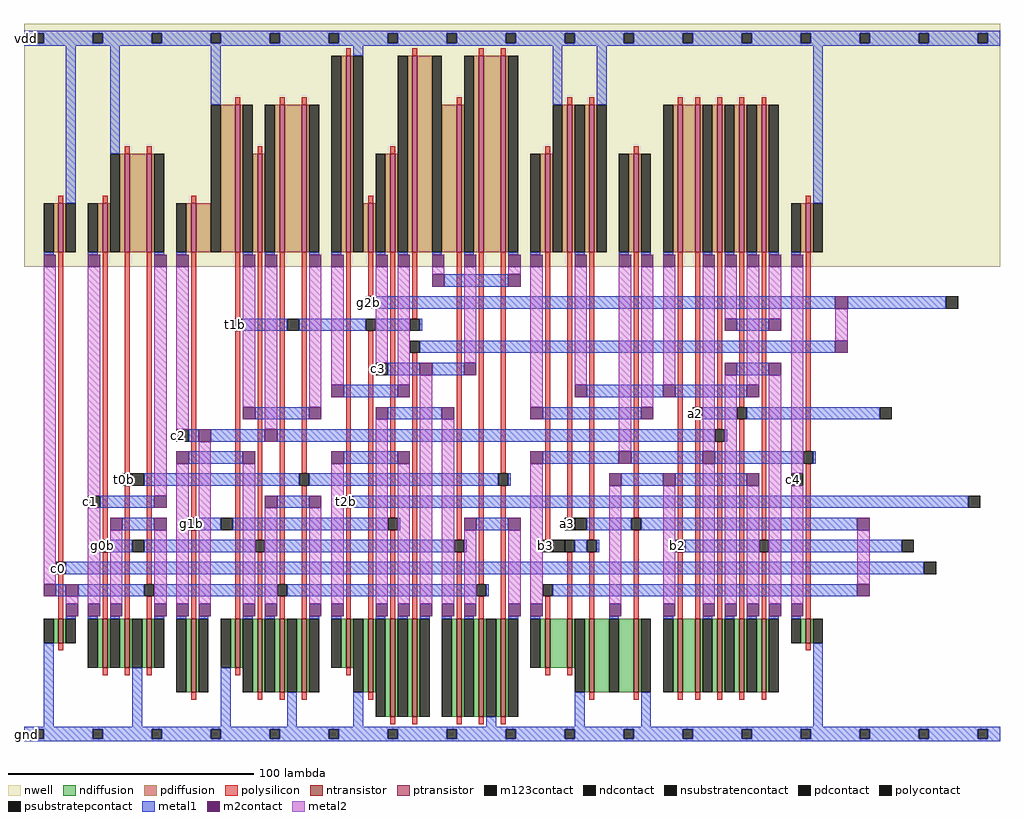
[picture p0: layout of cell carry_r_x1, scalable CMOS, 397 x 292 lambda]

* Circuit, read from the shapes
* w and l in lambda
.subckt carry_r_x1 a2 a3 b2 b3 c0 c1 c2 c3 c4 g0b g1b g2b t0b t1b t2b vdd gnd
M1 n1 c0 gnd gnd nfet w=10 l=2
M2 n2 g0b c1 gnd nfet w=20 l=2
M3 gnd t0b n2 gnd nfet w=20 l=2
M4 n2 n1 gnd gnd nfet w=20 l=2
M5 c2 g1b n3 gnd nfet w=30 l=2
M6 n3 t1b gnd gnd nfet w=20 l=2
M7 n4 g0b n3 gnd nfet w=30 l=2
M8 gnd n1 n4 gnd nfet w=30 l=2
M9 n4 t0b gnd gnd nfet w=30 l=2
M10 gnd t2b n5 gnd nfet w=20 l=2
M11 n6 t1b gnd gnd nfet w=30 l=2
M12 n5 g1b n6 gnd nfet w=40 l=2
M13 c3 g2b n5 gnd nfet w=40 l=2
M14 n7 g0b n6 gnd nfet w=40 l=2
M15 gnd n1 n7 gnd nfet w=40 l=2
M16 n7 t0b gnd gnd nfet w=40 l=2
M17 n8 a3 n9 gnd nfet w=20 l=2
M18 gnd b3 n8 gnd nfet w=20 l=2
M19 n10 b3 gnd gnd nfet w=30 l=2
M20 gnd a3 n10 gnd nfet w=30 l=2
M21 n11 b2 n10 gnd nfet w=30 l=2
M22 n9 a2 n11 gnd nfet w=30 l=2
M23 n12 c2 n9 gnd nfet w=30 l=2
M24 n10 a2 n12 gnd nfet w=30 l=2
M25 n12 b2 n10 gnd nfet w=30 l=2
M26 gnd n9 c4 gnd nfet w=10 l=2
M27 vdd c0 n1 vdd pfet w=20 l=2
M28 vdd g0b c1 vdd pfet w=20 l=2
M29 n13 t0b vdd vdd pfet w=40 l=2
M30 c1 n1 n13 vdd pfet w=40 l=2
M31 vdd g1b c2 vdd pfet w=20 l=2
M32 n14 t1b vdd vdd pfet w=60 l=2
M33 c2 g0b n14 vdd pfet w=40 l=2
M34 n15 n1 c2 vdd pfet w=60 l=2
M35 n14 t0b n15 vdd pfet w=60 l=2
M36 vdd t2b n16 vdd pfet w=80 l=2
M37 c3 g2b vdd vdd pfet w=20 l=2
M38 n16 g1b c3 vdd pfet w=40 l=2
M39 n17 t1b n16 vdd pfet w=80 l=2
M40 c3 g0b n17 vdd pfet w=60 l=2
M41 n18 n1 c3 vdd pfet w=80 l=2
M42 n17 t0b n18 vdd pfet w=80 l=2
M43 vdd b3 n19 vdd pfet w=40 l=2
M44 n20 a3 vdd vdd pfet w=60 l=2
M45 vdd b3 n20 vdd pfet w=60 l=2
M46 n19 a3 n9 vdd pfet w=40 l=2
M47 n21 b2 n20 vdd pfet w=60 l=2
M48 n9 a2 n21 vdd pfet w=60 l=2
M49 n22 c2 n9 vdd pfet w=60 l=2
M50 n20 a2 n22 vdd pfet w=60 l=2
M51 n22 b2 n20 vdd pfet w=60 l=2
M52 vdd n9 c4 vdd pfet w=20 l=2
.ends

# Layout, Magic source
magic
tech scmos
<< nwell >>
rect 0 193 397 292
<< ntransistor >>
rect 14 40 16 50
rect 32 30 34 50
rect 41 30 43 50
rect 50 30 52 50
rect 68 20 70 50
rect 86 30 88 50
rect 95 20 97 50
rect 104 20 106 50
rect 113 20 115 50
rect 131 30 133 50
rect 140 20 142 50
rect 149 10 151 50
rect 158 10 160 50
rect 176 10 178 50
rect 185 10 187 50
rect 194 10 196 50
rect 212 30 214 50
rect 221 30 223 50
rect 230 20 232 50
rect 248 20 250 50
rect 266 20 268 50
rect 273 20 275 50
rect 282 20 284 50
rect 291 20 293 50
rect 300 20 302 50
rect 318 40 320 50
<< ptransistor >>
rect 14 199 16 219
rect 32 199 34 219
rect 41 199 43 239
rect 50 199 52 239
rect 68 199 70 219
rect 86 199 88 259
rect 95 199 97 239
rect 104 199 106 259
rect 113 199 115 259
rect 131 199 133 279
rect 140 199 142 219
rect 149 199 151 239
rect 158 199 160 279
rect 176 199 178 259
rect 185 199 187 279
rect 194 199 196 279
rect 212 199 214 239
rect 221 199 223 259
rect 230 199 232 259
rect 248 199 250 239
rect 266 199 268 259
rect 273 199 275 259
rect 282 199 284 259
rect 291 199 293 259
rect 300 199 302 259
rect 318 199 320 219
<< ndiffusion >>
rect 12 40 14 50
rect 16 40 17 50
rect 30 30 32 50
rect 34 30 35 50
rect 39 30 41 50
rect 43 30 44 50
rect 48 30 50 50
rect 52 30 53 50
rect 66 20 68 50
rect 70 20 71 50
rect 84 30 86 50
rect 88 30 89 50
rect 93 20 95 50
rect 97 20 98 50
rect 102 20 104 50
rect 106 20 107 50
rect 111 20 113 50
rect 115 20 116 50
rect 129 30 131 50
rect 133 30 134 50
rect 138 20 140 50
rect 142 20 143 50
rect 147 10 149 50
rect 151 10 152 50
rect 156 10 158 50
rect 160 10 161 50
rect 174 10 176 50
rect 178 10 179 50
rect 183 10 185 50
rect 187 10 188 50
rect 192 10 194 50
rect 196 10 197 50
rect 210 30 212 50
rect 214 30 221 50
rect 223 30 224 50
rect 228 20 230 50
rect 232 20 238 50
rect 242 20 248 50
rect 250 20 251 50
rect 264 20 266 50
rect 268 20 273 50
rect 275 20 276 50
rect 280 20 282 50
rect 284 20 285 50
rect 289 20 291 50
rect 293 20 294 50
rect 298 20 300 50
rect 302 20 303 50
rect 316 40 318 50
rect 320 40 321 50
<< pdiffusion >>
rect 12 199 14 219
rect 16 199 17 219
rect 30 199 32 219
rect 34 199 35 219
rect 39 199 41 239
rect 43 199 50 239
rect 52 199 53 239
rect 66 199 68 219
rect 70 199 76 219
rect 80 199 86 259
rect 88 199 89 259
rect 93 199 95 239
rect 97 199 98 239
rect 102 199 104 259
rect 106 199 113 259
rect 115 199 116 259
rect 129 199 131 279
rect 133 199 134 279
rect 138 199 140 219
rect 142 199 143 219
rect 147 199 149 239
rect 151 199 152 239
rect 156 199 158 279
rect 160 199 166 279
rect 170 199 176 259
rect 178 199 179 259
rect 183 199 185 279
rect 187 199 194 279
rect 196 199 197 279
rect 210 199 212 239
rect 214 199 215 239
rect 219 199 221 259
rect 223 199 224 259
rect 228 199 230 259
rect 232 199 233 259
rect 246 199 248 239
rect 250 199 251 239
rect 264 199 266 259
rect 268 199 273 259
rect 275 199 276 259
rect 280 199 282 259
rect 284 199 285 259
rect 289 199 291 259
rect 293 199 294 259
rect 298 199 300 259
rect 302 199 303 259
rect 316 199 318 219
rect 320 199 321 219
<< ndcontact >>
rect 8 40 12 50
rect 17 40 21 50
rect 26 30 30 50
rect 35 30 39 50
rect 44 30 48 50
rect 53 30 57 50
rect 62 20 66 50
rect 71 20 75 50
rect 80 30 84 50
rect 89 20 93 50
rect 98 20 102 50
rect 107 20 111 50
rect 116 20 120 50
rect 125 30 129 50
rect 134 20 138 50
rect 143 10 147 50
rect 152 10 156 50
rect 161 10 165 50
rect 170 10 174 50
rect 179 10 183 50
rect 188 10 192 50
rect 197 10 201 50
rect 206 30 210 50
rect 224 20 228 50
rect 238 20 242 50
rect 251 20 255 50
rect 260 20 264 50
rect 276 20 280 50
rect 285 20 289 50
rect 294 20 298 50
rect 303 20 307 50
rect 312 40 316 50
rect 321 40 325 50
<< pdcontact >>
rect 8 199 12 219
rect 17 199 21 219
rect 26 199 30 219
rect 35 199 39 239
rect 53 199 57 239
rect 62 199 66 219
rect 76 199 80 259
rect 89 199 93 259
rect 98 199 102 259
rect 116 199 120 259
rect 125 199 129 279
rect 134 199 138 279
rect 143 199 147 239
rect 152 199 156 279
rect 166 199 170 279
rect 179 199 183 279
rect 197 199 201 279
rect 206 199 210 239
rect 215 199 219 259
rect 224 199 228 259
rect 233 199 237 259
rect 242 199 246 239
rect 251 199 255 239
rect 260 199 264 259
rect 276 199 280 259
rect 285 199 289 259
rect 294 199 298 259
rect 303 199 307 259
rect 312 199 316 219
rect 321 199 325 219
<< psubstratepcontact >>
rect 4 1 8 5
rect 28 1 32 5
rect 52 1 56 5
rect 76 1 80 5
rect 100 1 104 5
rect 124 1 128 5
rect 148 1 152 5
rect 172 1 176 5
rect 196 1 200 5
rect 220 1 224 5
rect 244 1 248 5
rect 268 1 272 5
rect 292 1 296 5
rect 316 1 320 5
rect 340 1 344 5
rect 364 1 368 5
rect 388 1 392 5
<< nsubstratencontact >>
rect 4 284 8 288
rect 28 284 32 288
rect 52 284 56 288
rect 76 284 80 288
rect 100 284 104 288
rect 124 284 128 288
rect 148 284 152 288
rect 172 284 176 288
rect 196 284 200 288
rect 220 284 224 288
rect 244 284 248 288
rect 268 284 272 288
rect 292 284 296 288
rect 316 284 320 288
rect 340 284 344 288
rect 364 284 368 288
rect 388 284 392 288
<< polysilicon >>
rect 131 279 133 282
rect 158 279 160 282
rect 185 279 187 282
rect 194 279 196 282
rect 86 259 88 262
rect 104 259 106 262
rect 113 259 115 262
rect 41 239 43 242
rect 50 239 52 242
rect 14 219 16 222
rect 32 219 34 222
rect 68 219 70 222
rect 95 239 97 242
rect 149 239 151 242
rect 140 219 142 222
rect 176 259 178 262
rect 221 259 223 262
rect 230 259 232 262
rect 266 259 268 262
rect 273 259 275 262
rect 282 259 284 262
rect 291 259 293 262
rect 300 259 302 262
rect 212 239 214 242
rect 248 239 250 242
rect 318 219 320 222
rect 14 73 16 199
rect 32 82 34 199
rect 41 109 43 199
rect 14 50 16 68
rect 32 50 34 77
rect 41 50 43 104
rect 50 64 52 199
rect 68 91 70 199
rect 86 172 88 199
rect 50 50 52 59
rect 68 50 70 86
rect 86 50 88 167
rect 95 82 97 199
rect 95 50 97 77
rect 104 64 106 199
rect 113 109 115 199
rect 104 50 106 59
rect 113 50 115 104
rect 131 100 133 199
rect 140 181 142 199
rect 131 50 133 95
rect 140 50 142 167
rect 149 91 151 199
rect 158 172 160 199
rect 149 50 151 86
rect 158 50 160 158
rect 176 82 178 199
rect 176 50 178 77
rect 185 64 187 199
rect 194 109 196 199
rect 185 50 187 59
rect 194 50 196 104
rect 212 82 214 199
rect 221 91 223 199
rect 230 82 232 199
rect 248 91 250 199
rect 212 50 214 59
rect 221 50 223 77
rect 230 50 232 77
rect 248 50 250 86
rect 266 82 268 199
rect 273 136 275 199
rect 266 50 268 77
rect 273 50 275 131
rect 282 127 284 199
rect 291 136 293 199
rect 282 50 284 122
rect 291 50 293 131
rect 300 82 302 199
rect 318 118 320 199
rect 300 50 302 77
rect 318 50 320 113
rect 14 37 16 40
rect 32 27 34 30
rect 41 27 43 30
rect 50 27 52 30
rect 86 27 88 30
rect 131 27 133 30
rect 68 17 70 20
rect 95 17 97 20
rect 104 17 106 20
rect 113 17 115 20
rect 140 17 142 20
rect 212 27 214 30
rect 221 27 223 30
rect 318 37 320 40
rect 230 17 232 20
rect 248 17 250 20
rect 266 17 268 20
rect 273 17 275 20
rect 282 17 284 20
rect 291 17 293 20
rect 300 17 302 20
rect 149 7 151 10
rect 158 7 160 10
rect 176 7 178 10
rect 185 7 187 10
rect 194 7 196 10
<< polycontact >>
rect 40 104 44 109
rect 31 77 35 82
rect 13 68 17 73
rect 85 167 89 172
rect 67 86 71 91
rect 49 59 53 64
rect 94 77 98 82
rect 112 104 116 109
rect 103 59 107 64
rect 139 176 143 181
rect 139 167 143 172
rect 130 95 134 100
rect 157 167 161 172
rect 157 158 161 163
rect 148 86 152 91
rect 175 77 179 82
rect 193 104 197 109
rect 184 59 188 64
rect 220 86 224 91
rect 247 86 251 91
rect 211 77 215 82
rect 220 77 224 82
rect 229 77 233 82
rect 211 59 215 64
rect 272 131 276 136
rect 265 77 269 82
rect 290 131 294 136
rect 281 122 285 127
rect 317 113 321 118
rect 299 77 303 82
<< metal1 >>
rect 0 288 397 289
rect 0 284 4 288
rect 8 284 28 288
rect 32 284 52 288
rect 56 284 76 288
rect 80 284 100 288
rect 104 284 124 288
rect 128 284 148 288
rect 152 284 172 288
rect 176 284 196 288
rect 200 284 220 288
rect 224 284 244 288
rect 248 284 268 288
rect 272 284 292 288
rect 296 284 316 288
rect 320 284 340 288
rect 344 284 364 288
rect 368 284 388 288
rect 392 284 397 288
rect 0 283 397 284
rect 17 219 21 283
rect 35 239 39 283
rect 76 259 80 283
rect 134 279 138 283
rect 8 198 12 199
rect 26 198 30 199
rect 53 198 57 199
rect 62 198 66 199
rect 89 198 93 199
rect 98 198 102 199
rect 116 198 120 199
rect 125 198 129 199
rect 143 198 147 199
rect 152 198 156 199
rect 166 198 170 199
rect 179 198 183 199
rect 215 259 219 283
rect 233 259 237 283
rect 197 198 201 199
rect 206 198 210 199
rect 224 198 228 199
rect 242 198 246 199
rect 251 198 255 199
rect 260 198 264 199
rect 276 198 280 199
rect 285 198 289 199
rect 294 198 298 199
rect 321 219 325 283
rect 303 198 307 199
rect 312 198 316 199
rect 171 185 197 190
rect 143 176 330 181
rect 335 176 375 181
rect 89 167 107 172
rect 112 167 139 172
rect 143 167 157 172
rect 161 167 162 172
rect 290 167 303 172
rect 161 158 330 163
rect 148 149 161 154
rect 166 149 179 154
rect 290 149 303 154
rect 130 140 152 145
rect 229 140 260 145
rect 265 140 294 145
rect 94 131 116 136
rect 148 131 170 136
rect 211 131 251 136
rect 276 131 290 136
rect 294 131 348 136
rect 67 122 71 127
rect 76 122 98 127
rect 103 122 281 127
rect 285 122 286 127
rect 67 113 89 118
rect 130 113 152 118
rect 211 113 242 118
rect 247 113 276 118
rect 281 113 317 118
rect 321 113 322 118
rect 49 104 112 109
rect 116 104 193 109
rect 197 104 198 109
rect 243 104 260 109
rect 265 104 294 109
rect 31 95 53 100
rect 103 95 116 100
rect 134 95 384 100
rect 40 86 53 91
rect 71 86 80 91
rect 85 86 148 91
rect 152 86 153 91
rect 184 86 197 91
rect 229 86 247 91
rect 251 86 339 91
rect 35 77 44 82
rect 49 77 94 82
rect 98 77 175 82
rect 179 77 180 82
rect 224 77 229 82
rect 233 77 234 82
rect 269 77 299 82
rect 303 77 357 82
rect 17 68 366 73
rect 13 59 17 64
rect 22 59 49 64
rect 53 59 103 64
rect 107 59 184 64
rect 188 59 189 64
rect 215 59 339 64
rect 17 50 21 51
rect 26 50 30 51
rect 8 6 12 40
rect 35 50 39 51
rect 53 50 57 51
rect 62 50 66 51
rect 44 6 48 30
rect 71 50 75 51
rect 89 50 93 51
rect 80 6 84 30
rect 98 50 102 51
rect 116 50 120 51
rect 125 50 129 51
rect 143 50 147 51
rect 107 6 111 20
rect 134 6 138 20
rect 152 50 156 51
rect 161 50 165 51
rect 170 50 174 51
rect 179 50 183 51
rect 197 50 201 51
rect 206 50 210 51
rect 238 50 242 51
rect 260 50 264 51
rect 276 50 280 51
rect 285 50 289 51
rect 294 50 298 51
rect 303 50 307 51
rect 312 50 316 51
rect 188 6 192 10
rect 224 6 228 20
rect 251 6 255 20
rect 321 6 325 40
rect 0 5 397 6
rect 0 1 4 5
rect 8 1 28 5
rect 32 1 52 5
rect 56 1 76 5
rect 80 1 100 5
rect 104 1 124 5
rect 128 1 148 5
rect 152 1 172 5
rect 176 1 196 5
rect 200 1 220 5
rect 224 1 244 5
rect 248 1 268 5
rect 272 1 292 5
rect 296 1 316 5
rect 320 1 340 5
rect 344 1 364 5
rect 368 1 388 5
rect 392 1 397 5
rect 0 0 397 1
<< m2contact >>
rect 8 193 13 198
rect 26 193 31 198
rect 53 193 58 198
rect 62 193 67 198
rect 89 193 94 198
rect 98 193 103 198
rect 116 193 121 198
rect 125 193 130 198
rect 143 193 148 198
rect 152 193 157 198
rect 166 193 171 198
rect 179 193 184 198
rect 197 193 202 198
rect 206 193 211 198
rect 224 193 229 198
rect 242 193 247 198
rect 251 193 256 198
rect 260 193 265 198
rect 276 193 281 198
rect 285 193 290 198
rect 294 193 299 198
rect 303 193 308 198
rect 312 193 317 198
rect 166 185 171 190
rect 197 185 202 190
rect 330 176 335 181
rect 285 167 290 172
rect 303 167 308 172
rect 330 158 335 163
rect 161 149 166 154
rect 179 149 184 154
rect 285 149 290 154
rect 303 149 308 154
rect 125 140 130 145
rect 152 140 157 145
rect 224 140 229 145
rect 260 140 265 145
rect 294 140 299 145
rect 89 131 94 136
rect 116 131 121 136
rect 143 131 148 136
rect 170 131 175 136
rect 206 131 211 136
rect 251 131 256 136
rect 71 122 76 127
rect 98 122 103 127
rect 62 113 67 118
rect 89 113 94 118
rect 125 113 130 118
rect 152 113 157 118
rect 206 113 211 118
rect 242 113 247 118
rect 276 113 281 118
rect 238 104 243 109
rect 260 104 265 109
rect 294 104 299 109
rect 53 95 58 100
rect 98 95 103 100
rect 116 95 121 100
rect 35 86 40 91
rect 53 86 58 91
rect 179 86 184 91
rect 197 86 202 91
rect 339 86 344 91
rect 8 59 13 64
rect 17 59 22 64
rect 339 59 344 64
rect 17 51 22 56
rect 26 51 31 56
rect 35 51 40 56
rect 53 51 58 56
rect 62 51 67 56
rect 71 51 76 56
rect 89 51 94 56
rect 98 51 103 56
rect 116 51 121 56
rect 125 51 130 56
rect 143 51 148 56
rect 152 51 157 56
rect 161 51 166 56
rect 170 51 175 56
rect 179 51 184 56
rect 197 51 202 56
rect 206 51 211 56
rect 238 51 243 56
rect 260 51 265 56
rect 276 51 281 56
rect 285 51 290 56
rect 294 51 299 56
rect 303 51 308 56
rect 312 51 317 56
<< metal2 >>
rect 8 64 13 193
rect 26 100 31 193
rect 53 100 58 193
rect 62 127 67 193
rect 89 136 94 193
rect 98 127 103 193
rect 116 136 121 193
rect 125 145 130 193
rect 143 154 148 193
rect 152 145 157 193
rect 166 190 171 193
rect 179 154 184 193
rect 197 190 202 193
rect 17 56 22 59
rect 26 56 31 95
rect 35 56 40 86
rect 53 56 58 86
rect 62 56 67 113
rect 71 56 76 122
rect 89 56 94 113
rect 98 56 103 95
rect 116 56 121 95
rect 125 56 130 113
rect 143 56 148 131
rect 152 56 157 113
rect 161 56 166 149
rect 206 136 211 193
rect 224 145 229 193
rect 170 56 175 131
rect 242 118 247 193
rect 251 136 256 193
rect 260 145 265 193
rect 276 118 281 193
rect 285 172 290 193
rect 179 56 184 86
rect 197 56 202 86
rect 206 56 211 113
rect 238 56 243 104
rect 260 56 265 104
rect 276 56 281 113
rect 285 56 290 149
rect 294 145 299 193
rect 303 172 308 193
rect 294 56 299 104
rect 303 56 308 149
rect 312 109 317 193
rect 330 163 335 176
rect 312 56 317 104
rect 339 64 344 86
<< m123contact >>
rect 44 104 49 109
rect 26 95 31 100
rect 107 167 112 172
rect 143 149 148 154
rect 62 122 67 127
rect 44 77 49 82
rect 80 86 85 91
rect 224 86 229 91
rect 215 77 220 82
rect 375 176 380 181
rect 348 131 353 136
rect 312 104 317 109
rect 384 95 389 100
rect 357 77 362 82
rect 366 68 371 73
<< labels >>
rlabel metal1 272 131 274 136 0 a2
port 1 nsew
rlabel metal1 220 86 222 91 0 a3
port 2 nsew
rlabel metal1 265 77 267 82 0 b2
port 3 nsew
rlabel metal1 211 77 213 82 0 b3
port 4 nsew
rlabel metal1 13 68 15 73 0 c0
port 5 nsew
rlabel metal1 26 95 28 100 0 c1
port 6 nsew
rlabel metal1 62 122 64 127 0 c2
port 7 nsew
rlabel metal1 143 149 145 154 0 c3
port 8 nsew
rlabel metal1 312 104 314 109 0 c4
port 9 nsew
rlabel metal1 31 77 33 82 0 g0b
port 10 nsew
rlabel metal1 67 86 69 91 0 g1b
port 11 nsew
rlabel metal1 139 176 141 181 0 g2b
port 12 nsew
rlabel metal1 40 104 42 109 0 t0b
port 13 nsew
rlabel metal1 85 167 87 172 0 t1b
port 14 nsew
rlabel metal1 130 95 132 100 0 t2b
port 15 nsew
rlabel metal1 0 283 2 289 0 vdd
port 16 nsew
rlabel metal1 0 0 2 6 0 gnd
port 17 nsew
<< end >>
